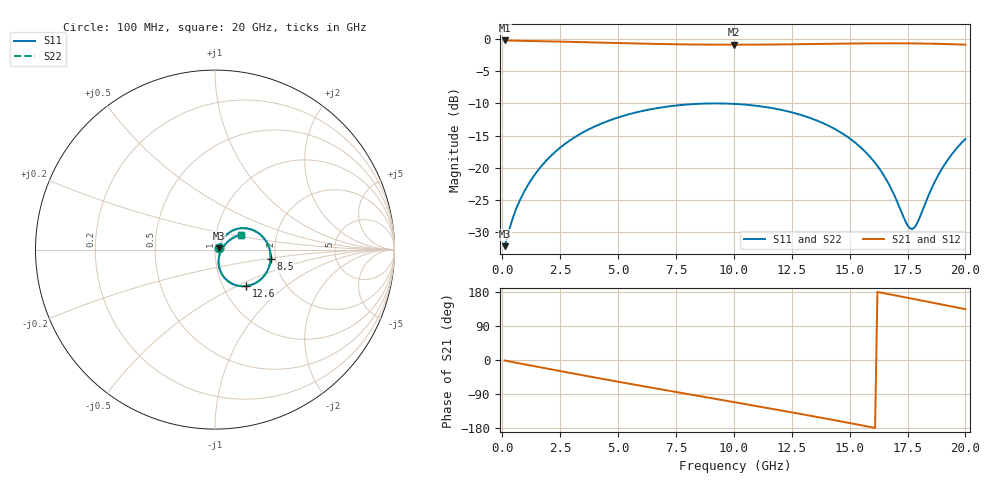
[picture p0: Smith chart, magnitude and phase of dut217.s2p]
! Touchstone file exported from HFSS 2026.1.0
!  File:  C:/ffzhzh/LocalFiles/Ansys_Project_Files/temp_train_TSV_RDL_217_1783062758_45820.aedt
!  Generated:  03:21:20 PM Jul  3, 2026
!  Design:  TSV_RDL
!  Project:  temp_train_TSV_RDL_217_1783062758_45820
! Variables:
!  h_bsmrdl = 2.74um
!  h_ox = 20um
!  h_rdl = 5um
!  h_sub = 61.38um
!  h_tmrdl = 4.12um
!  h_tsv = 61.38um
!  h_via = 3um
!  l_bsmrdl = 813.14um
!  l_sub = 3413.64um
!  l_tmrdl = 109.37um
!  m_sub = 200um
!  pitch = 30.74um
!  r_tsv = 5.29um
!  s_tmrdl = 10um
!  w_bsmrdl = 15.87um
!  w_sub = 500um
!  w_tmrdl = 29.71um
!  x_tsv_center1 = 124.225um
!  x_tsv_center2 = 953.235um
!  x_tsv_center3 = 1092.315um
!  x_tsv_center4 = 1921.325um
!  x_tsv_center5 = 2060.405um
!  x_tsv_center6 = 2889.415um
# GHz S MA R 50.000000
! Terminal data exported
! Port[1] = TM_RDL1_1_T1
! Port[2] = TM_RDL5_1_T1
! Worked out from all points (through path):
!   200 points, 100 MHz to 20 GHz, reference 50 ohm
!   highest |S21| = -0.21 dB at 100 MHz (marker M1); lowest = -0.9 dB at 10 GHz (marker M2)
!   group delay of S21, straight-line fit = 30.8 ps
!   lowest |S11| = -32.2 dB at 100 MHz (marker M3), VSWR 1.05, Z = 52.4 + j0.726 ohm
!   |S11| at or under -10 dB: start of sweep to 9.123 GHz; 9.288 GHz to end of sweep
!   |S22| runs from -32.2 to -10.0 dB; largest |S21 - S12| = 1.8e-14
!   S11 on the Smith chart (normalised r, x): 100 MHz: 1.05, +0.01; 8.5 GHz: 1.88, -0.22; 12.6 GHz: 1.28, -0.56; 20 GHz: 1.32, +0.23
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0.1  0.02451 16.4  0.9766 -1.3  0.9766 -1.3  0.02451 16.4
! Gamma 0 0 0 0
! Port Impedance 50 0 50 0
0.6  0.04782 47.0  0.9714 -7.3  0.9714 -7.3  0.04781 47.0
1.3  0.08307 52.9  0.9663 -15.4  0.9663 -15.4  0.08307 52.9
2.3  0.1335 49.0  0.9585 -26.9  0.9585 -26.9  0.1335 49.0
3.5  0.1889 39.1  0.9473 -40.6  0.9473 -40.6  0.1889 39.1
5.2  0.2522 22.9  0.9304 -59.5  0.9304 -59.5  0.2522 22.9
6.8  0.2928 7.1  0.9167 -76.9  0.9167 -76.9  0.2929 7.1
8.5  0.3142 -9.7  0.9075 -95.1  0.9075 -95.1  0.3143 -9.7
10  0.3136 -24.4  0.905 -111.1  0.905 -111.1  0.3137 -24.4
10.1  0.3129 -25.4  0.905 -112.2  0.905 -112.2  0.3129 -25.4
11.3  0.2976 -37.1  0.9069 -125.1  0.9069 -125.1  0.2977 -37.1
12.6  0.2665 -49.7  0.9121 -139.3  0.9121 -139.3  0.2666 -49.6
13.4  0.2398 -57.2  0.9161 -148.2  0.9161 -148.2  0.2399 -57.2
14.5  0.1935 -67.0  0.9219 -160.6  0.9219 -160.6  0.1937 -67.0
15.4  0.1481 -73.8  0.9259 -171.0  0.9259 -171.0  0.1483 -73.7
16.1  0.109 -76.7  0.9279 -179.2  0.9279 -179.2  0.1091 -76.6
16.7  0.07407 -74.5  0.9285 173.8  0.9285 173.8  0.07427 -74.4
17.5  0.03565 -41.2  0.9273 164.2  0.9273 164.2  0.03594 -41.2
17.7  0.0333 -20.7  0.9266 161.8  0.9266 161.8  0.03357 -20.9
17.9  0.0365 -0.6  0.9257 159.4  0.9257 159.4  0.03672 -0.9
18.9  0.09225 32.7  0.9187 147.4  0.9187 147.4  0.09227 32.5
20  0.1673 30.0  0.906 134.2  0.906 134.2  0.1673 29.8
